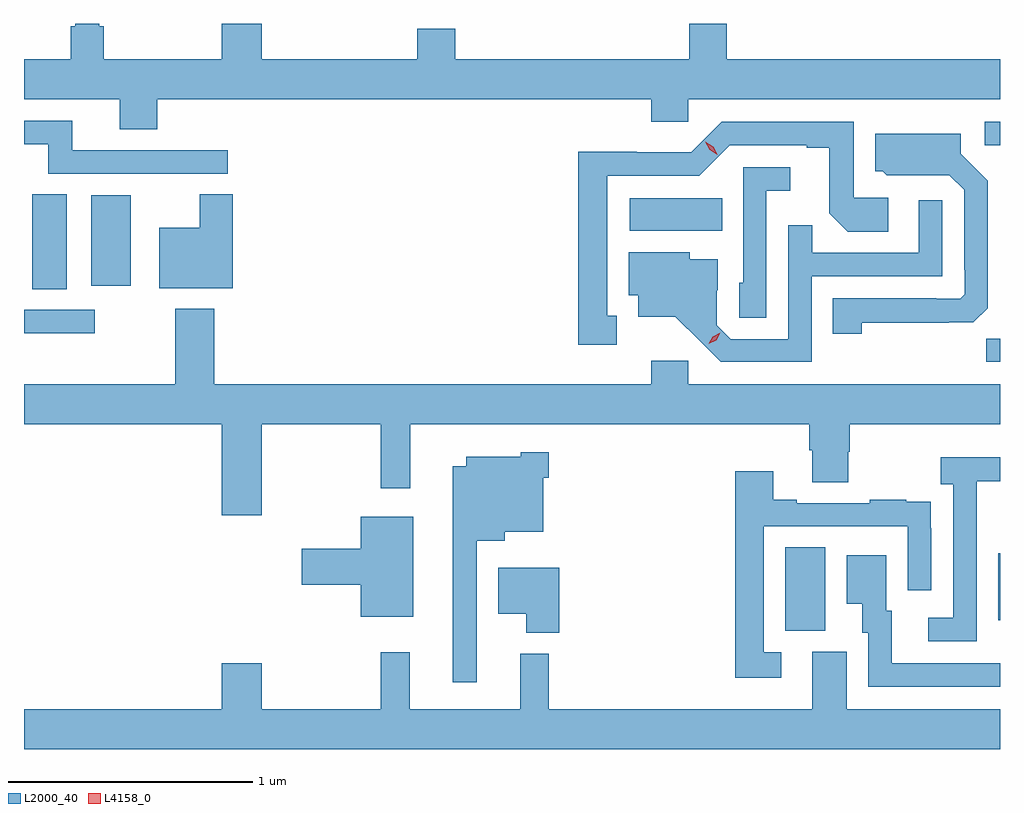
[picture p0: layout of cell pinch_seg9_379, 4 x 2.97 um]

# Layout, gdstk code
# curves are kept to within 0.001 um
import gdstk
lib = gdstk.Library(unit=1e-6, precision=1e-09)
def R(c, l, rs):  # rectangles x0, y0, x1, y1
    for r in rs: c.add(gdstk.rectangle(r[:2], r[2:], *l))
def P(c, l, *ps):  # polygons
    for p in ps: c.add(gdstk.Polygon(p, *l))
L2000_40 = (2000, 40)
L4158_0 = (4158, 0)

pinch_seg9_379 = lib.new_cell('pinch_seg9_379')
R(pinch_seg9_379, L2000_40, [(323.162,1232.869,323.326,1233.212), (324.035,1232.913,324.042,1233.187), (323.986,1233.972,324.042,1234.067), (320.042,1234.088,320.332,1234.185), (320.075,1234.27,320.218,1234.658), (320.318,1234.284,320.479,1234.654), (322.524,1234.508,322.904,1234.642), (323.979,1234.86,324.042,1234.956)])
P(pinch_seg9_379, L2000_40, [(320.369,1235.346),(320.35,1235.346),(320.35,1235.357),(320.252,1235.357),(320.252,1235.346),(320.233,1235.346),(320.233,1235.212),(320.042,1235.212),(320.042,1235.048),(320.435,1235.048),(320.435,1234.924),(320.588,1234.924),(320.588,1235.048),(322.613,1235.048),(322.613,1234.955),(322.764,1234.955),(322.764,1235.048),(324.042,1235.048),(324.042,1235.212),(322.922,1235.212),(322.922,1235.357),(322.769,1235.357),(322.769,1235.212),(321.809,1235.212),(321.809,1235.336),(321.653,1235.336),(321.653,1235.212),(321.016,1235.212),(321.016,1235.357),(320.852,1235.357),(320.852,1235.212),(320.369,1235.212)],
  [(320.878,1234.839),(320.24,1234.839),(320.24,1234.959),(320.042,1234.959),(320.042,1234.863),(320.141,1234.863),(320.141,1234.743),(320.878,1234.743)],
  [(322.471,1234.161),(322.432,1234.161),(322.432,1234.734),(322.809,1234.734),(322.935,1234.86),(323.249,1234.86),(323.249,1234.848),(323.343,1234.848),(323.343,1234.58),(323.419,1234.504),(323.584,1234.504),(323.584,1234.644),(323.442,1234.644),(323.442,1234.956),(322.902,1234.956),(322.776,1234.83),(322.554,1234.83),(322.554,1234.832),(322.314,1234.832),(322.314,1234.041),(322.471,1234.041)],
  [(323.475,1234.132),(323.932,1234.133),(323.991,1234.192),(323.991,1234.714),(323.881,1234.824),(323.881,1234.906),(323.531,1234.906),(323.531,1234.752),(323.562,1234.752),(323.578,1234.736),(323.835,1234.737),(323.895,1234.677),(323.895,1234.348),(323.898,1234.348),(323.898,1234.248),(323.88,1234.23),(323.78,1234.23),(323.78,1234.233),(323.356,1234.233),(323.356,1234.086),(323.475,1234.086)],
  [(323.085,1234.673),(323.182,1234.673),(323.182,1234.77),(322.989,1234.77),(322.989,1234.296),(322.974,1234.296),(322.974,1234.153),(323.085,1234.153)],
  [(320.897,1234.658),(320.762,1234.658),(320.762,1234.522),(320.597,1234.522),(320.597,1234.274),(320.897,1234.274)],
  [(323.271,1234.323),(323.805,1234.323),(323.805,1234.633),(323.709,1234.633),(323.709,1234.419),(323.273,1234.419),(323.273,1234.532),(323.175,1234.532),(323.175,1234.065),(322.938,1234.065),(322.881,1234.122),(322.881,1234.264),(322.885,1234.264),(322.885,1234.393),(322.77,1234.393),(322.77,1234.42),(322.52,1234.42),(322.52,1234.244),(322.559,1234.244),(322.559,1234.157),(322.711,1234.157),(322.898,1233.972),(323.271,1233.972)],
  [(321.016,1233.716),(321.505,1233.716),(321.505,1233.453),(321.624,1233.453),(321.624,1233.716),(323.261,1233.716),(323.261,1233.61),(323.273,1233.61),(323.273,1233.478),(323.421,1233.478),(323.421,1233.603),(323.426,1233.603),(323.426,1233.716),(324.042,1233.716),(324.042,1233.88),(322.764,1233.88),(322.764,1233.976),(322.613,1233.976),(322.613,1233.88),(320.822,1233.88),(320.822,1234.189),(320.662,1234.189),(320.662,1233.88),(320.042,1233.88),(320.042,1233.716),(320.852,1233.716),(320.852,1233.342),(321.016,1233.342)],
  [(321.897,1233.239),(322.012,1233.239),(322.012,1233.275),(322.171,1233.275),(322.171,1233.497),(322.193,1233.497),(322.193,1233.601),(322.077,1233.601),(322.077,1233.583),(321.854,1233.583),(321.854,1233.544),(321.8,1233.544),(321.8,1232.658),(321.897,1232.658)],
  [(323.946,1233.283),(323.947,1233.283),(323.947,1233.483),(324.042,1233.483),(324.042,1233.58),(323.799,1233.58),(323.799,1233.47),(323.85,1233.47),(323.85,1232.922),(323.748,1232.922),(323.748,1232.826),(323.946,1232.826)],
  [(323.146,1232.781),(323.073,1232.781),(323.073,1233.297),(323.664,1233.297),(323.664,1233.036),(323.76,1233.036),(323.76,1233.29),(323.759,1233.29),(323.759,1233.399),(323.657,1233.399),(323.657,1233.406),(323.509,1233.406),(323.509,1233.393),(323.209,1233.393),(323.209,1233.406),(323.113,1233.406),(323.113,1233.523),(322.957,1233.523),(322.957,1232.676),(323.146,1232.676)],
  [(321.637,1233.337),(321.422,1233.337),(321.422,1233.206),(321.18,1233.206),(321.18,1233.059),(321.422,1233.059),(321.422,1232.927),(321.637,1232.927)],
  [(324.042,1232.736),(323.599,1232.736),(323.599,1232.952),(323.575,1232.952),(323.575,1233.178),(323.414,1233.178),(323.414,1232.981),(323.477,1232.981),(323.477,1232.862),(323.502,1232.862),(323.502,1232.64),(324.042,1232.64)],
  [(322.235,1233.127),(321.986,1233.127),(321.986,1232.939),(322.1,1232.939),(322.1,1232.861),(322.235,1232.861)],
  [(324.042,1232.548),(323.413,1232.548),(323.413,1232.784),(323.273,1232.784),(323.273,1232.548),(322.193,1232.548),(322.193,1232.776),(322.076,1232.776),(322.076,1232.548),(321.623,1232.548),(321.623,1232.782),(321.505,1232.782),(321.505,1232.548),(321.016,1232.548),(321.016,1232.737),(320.852,1232.737),(320.852,1232.548),(320.042,1232.548),(320.042,1232.384),(324.042,1232.384)])
P(pinch_seg9_379, L4158_0, [(322.849,1234.045),(322.849,1234.045),(322.865,1234.075),(322.895,1234.091),(322.896,1234.091),(322.896,1234.091),(322.879,1234.061),(322.849,1234.045)],
  [(322.883,1234.821),(322.852,1234.841),(322.835,1234.874),(322.835,1234.874),(322.835,1234.874),(322.866,1234.854),(322.883,1234.822),(322.883,1234.821)])

lib.write_gds('pinch_seg9_379.gds')
